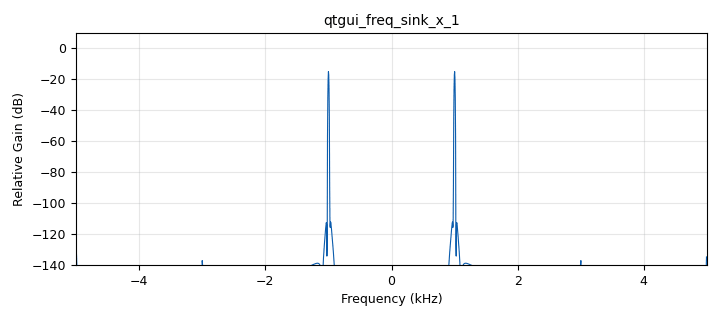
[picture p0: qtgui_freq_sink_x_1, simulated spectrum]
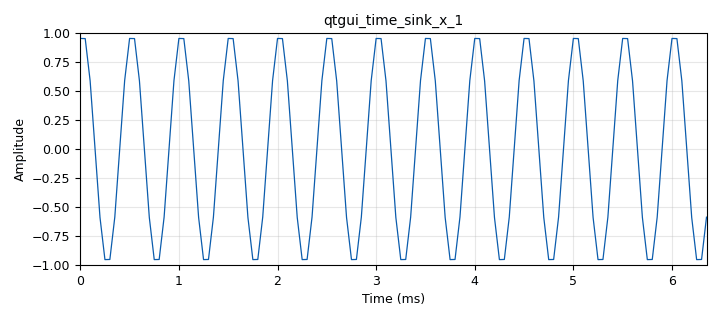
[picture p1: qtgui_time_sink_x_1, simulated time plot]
<?xml version='1.0' encoding='utf-8'?>
<?grc format='1' created='3.7.13'?>
<flow_graph>
<block>
<key>options</key>
<param><key>id</key><value>top_block</value></param>
<param><key>generate_options</key><value>qt_gui</value></param>
</block>
<block>
<key>variable_qtgui_range</key>
<param><key>id</key><value>freq</value></param>
<param><key>value</key><value>2000</value></param>
<param><key>label</key><value>frequency</value></param>
<param><key>orient</key><value>Qt.Horizontal</value></param>
<param><key>start</key><value>1000</value></param>
<param><key>step</key><value>1000</value></param>
<param><key>stop</key><value>40000</value></param>
</block>
<block>
<key>variable_qtgui_range</key>
<param><key>id</key><value>samp_rate</value></param>
<param><key>value</key><value>20000</value></param>
<param><key>label</key><value>Frecuencia de muestreo</value></param>
<param><key>orient</key><value>Qt.Horizontal</value></param>
<param><key>start</key><value>1000</value></param>
<param><key>step</key><value>1000</value></param>
<param><key>stop</key><value>80000</value></param>
</block>
<block>
<key>variable</key>
<param><key>id</key><value>samp_rate</value></param>
<param><key>_enabled</key><value>0</value></param>
<param><key>value</key><value>32000</value></param>
</block>
<block>
<key>variable_qtgui_range</key>
<param><key>id</key><value>variable_qtgui_range_0</value></param>
<param><key>value</key><value>50</value></param>
<param><key>orient</key><value>Qt.Horizontal</value></param>
<param><key>start</key><value>0</value></param>
<param><key>step</key><value>1</value></param>
<param><key>stop</key><value>100</value></param>
</block>
<block>
<key>variable_qtgui_range</key>
<param><key>id</key><value>variable_qtgui_range_1</value></param>
<param><key>value</key><value>50</value></param>
<param><key>orient</key><value>Qt.Horizontal</value></param>
<param><key>start</key><value>0</value></param>
<param><key>step</key><value>1</value></param>
<param><key>stop</key><value>100</value></param>
</block>
<block>
<key>analog_sig_source_x</key>
<param><key>id</key><value>analog_sig_source_x_1</value></param>
<param><key>amp</key><value>1</value></param>
<param><key>freq</key><value>2000</value></param>
<param><key>offset</key><value>0</value></param>
<param><key>type</key><value>float</value></param>
<param><key>samp_rate</key><value>samp_rate</value></param>
<param><key>waveform</key><value>analog.GR_SIN_WAVE</value></param>
</block>
<block>
<key>blocks_throttle</key>
<param><key>id</key><value>blocks_throttle_1</value></param>
<param><key>samples_per_second</key><value>samp_rate</value></param>
<param><key>type</key><value>float</value></param>
</block>
<block>
<key>qtgui_freq_sink_x</key>
<param><key>id</key><value>qtgui_freq_sink_x_1</value></param>
<param><key>bw</key><value>10000</value></param>
<param><key>fc</key><value>0</value></param>
<param><key>fftsize</key><value>2048</value></param>
<param><key>showports</key><value>True</value></param>
<param><key>type</key><value>float</value></param>
<param><key>wintype</key><value>firdes.WIN_BLACKMAN_hARRIS</value></param>
</block>
<block>
<key>qtgui_time_sink_x</key>
<param><key>id</key><value>qtgui_time_sink_x_1</value></param>
<param><key>color1</key><value>"blue"</value></param>
<param><key>label1</key><value></value></param>
<param><key>size</key><value>128</value></param>
<param><key>srate</key><value>samp_rate</value></param>
<param><key>type</key><value>float</value></param>
</block>
<connection><source_block_id>analog_sig_source_x_1</source_block_id><sink_block_id>blocks_throttle_1</sink_block_id><source_key>0</source_key><sink_key>0</sink_key></connection>
<connection><source_block_id>blocks_throttle_1</source_block_id><sink_block_id>qtgui_freq_sink_x_1</sink_block_id><source_key>0</source_key><sink_key>0</sink_key></connection>
<connection><source_block_id>blocks_throttle_1</source_block_id><sink_block_id>qtgui_time_sink_x_1</sink_block_id><source_key>0</source_key><sink_key>0</sink_key></connection>
</flow_graph>
